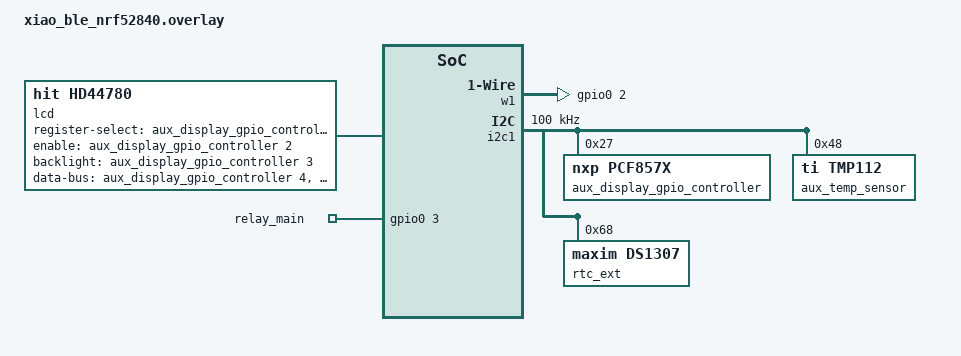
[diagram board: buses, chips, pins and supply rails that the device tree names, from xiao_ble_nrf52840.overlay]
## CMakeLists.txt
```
cmake_minimum_required(VERSION 3.20.0)
find_package(Zephyr REQUIRED HINTS $ENV{ZEPHYR_BASE})

project(nrf)

target_sources(app PRIVATE
    src/main.c
    src/temp_sensor.c
    src/display.c
    src/relay.c
    src/ds18b20.c
    src/sys.c
    src/clock.c
)
```

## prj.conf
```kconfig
CONFIG_PRINTK=y
CONFIG_GPIO=y
CONFIG_I2C=y
CONFIG_STDOUT_CONSOLE=y

# Enable support for the HD44780 LCD display
CONFIG_AUXDISPLAY=y
CONFIG_AUXDISPLAY_HD44780=y
CONFIG_GPIO_PCF857X=y

# Enable 1-Wire support for DS18B20 temperature sensor
CONFIG_W1=y

# Ambient temperature sensor support
CONFIG_TMP112=y
CONFIG_SENSOR=y

# Real Time Clock
CONFIG_RTC=y
CONFIG_RTC_DS1307=y

# for debugging
CONFIG_LOG=y
CONFIG_LOG_DEFAULT_LEVEL=3
CONFIG_LOG_MODE_DEFERRED=y
CONFIG_LOG_BACKEND_UART=y
CONFIG_UART_CONSOLE=y
```

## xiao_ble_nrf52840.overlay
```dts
/*
            xiao_ble
         +-----------+
     W1 -|0        5V|- N/C
  RELAY -|1       GND|- GND
        -|2      3.3V|- 3.3V
        -|3        10|-
    SDA -|4         9|-
    SCL -|5         8|- 
     TX -|6         7|- RX
         +-----------+
*/

/ {

    // 16x2 lcd display
    lcd: hd44780 {
        compatible = "hit,hd44780";
        status = "okay";

        mode = <4>;
        columns = <16>;
        rows = <2>;

        register-select-gpios = <&aux_display_gpio_controller 0 (GPIO_ACTIVE_HIGH)>;
        //read-write-gpios = <&aux_display_gpio_controller 1 (GPIO_ACTIVE_HIGH)>;
        enable-gpios = <&aux_display_gpio_controller 2 (GPIO_ACTIVE_HIGH)>;
        backlight-gpios = <&aux_display_gpio_controller 3 (GPIO_ACTIVE_HIGH)>;
        data-bus-gpios =
            <0>, <0>, <0>, <0>,
            <&aux_display_gpio_controller 4 (GPIO_ACTIVE_HIGH)>,
            <&aux_display_gpio_controller 5 (GPIO_ACTIVE_HIGH)>,
            <&aux_display_gpio_controller 6 (GPIO_ACTIVE_HIGH)>,
            <&aux_display_gpio_controller 7 (GPIO_ACTIVE_HIGH)>;
    };

    // 1-wire bus for DS18B20 temperature sensor
    w1: w1 {
        compatible = "zephyr,w1-gpio";
        status = "okay";

        // use external pull-up resistor
        gpios = <&gpio0 2 (GPIO_ACTIVE_HIGH | GPIO_OPEN_DRAIN)>;
    };
    
    outputs {
        compatible = "gpio-leds"; // this is not an LED, needs to be fixed
        relay_main: relay_main {
            gpios = <&gpio0 3 GPIO_ACTIVE_HIGH>;
            status = "okay";

        };
    };
};

// I2C bus
&i2c1 {
    status = "okay";
    clock-frequency = <I2C_BITRATE_STANDARD>;

    // PCF8574 I/O expander for the LCD
    aux_display_gpio_controller: pcf8574@27 {
        compatible = "nxp,pcf857x";
        reg = <0x27>;
        gpio-controller;
        ngpios = <8>;
        #gpio-cells = <2>;
    };

    // TMP102 temperature sensor
    aux_temp_sensor: tmp102@48 {
        compatible = "ti,tmp112";
        status = "okay";
        reg = <0x48>;
        conversion-rate = <250>; // 250mHz conversion rate
    };

    rtc_ext: ds1307@68 {
        compatible = "maxim,ds1307";
        status = "okay";
        reg = <0x68>;
    };

};

&spi2 {
    status = "disabled";
};
```

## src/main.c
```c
#include <zephyr/kernel.h>
#include <zephyr/drivers/sensor.h>
#include <string.h>
#include "display.h"
#include "temp_sensor.h"
#include "sys.h"

/* entrypoint and system configuration for the application */

#define TEMP_SENSOR_THREAD_PERIOD_MS    5000
#define DISPLAY_THREAD_PERIOD_MS        200
#define SYS_THREAD_PERIOD_MS            200

static struct k_sem temp_sensor_tick_sem;
static struct k_sem display_tick_sem;
static struct k_sem sys_tick_sem;

static void temp_sensor_timer_handler(struct k_timer *dummy);
static void temp_sensor_thread(void *a, void *b, void *c);

static void display_timer_handler(struct k_timer *dummy);
static void display_thread(void *a, void *b, void *c);

static void sys_timer_handler(struct k_timer *dummy);
static void sys_thread(void *a, void *b, void *c);

static void temp_sensor_timer_handler(struct k_timer *dummy){
    (void)dummy;
    k_sem_give(&temp_sensor_tick_sem);
}
K_TIMER_DEFINE(temp_sensor_timer, temp_sensor_timer_handler, NULL);

static void display_timer_handler(struct k_timer *dummy){
    (void)dummy;
    k_sem_give(&display_tick_sem);
}
K_TIMER_DEFINE(display_timer, display_timer_handler, NULL);

static void sys_timer_handler(struct k_timer *dummy){
    (void)dummy;
    k_sem_give(&sys_tick_sem);
}
K_TIMER_DEFINE(sys_timer, sys_timer_handler, NULL);

static void temp_sensor_thread(void *a, void *b, void *c){

    k_sem_init(&temp_sensor_tick_sem, 0, 1);

    temp_sensor_init();

    k_timer_start(&temp_sensor_timer, K_NO_WAIT, K_MSEC(TEMP_SENSOR_THREAD_PERIOD_MS));

    for (;;) {
        k_sem_take(&temp_sensor_tick_sem, K_FOREVER);

        temp_sensor_main();
    }
}

static void display_thread(void *a, void *b, void *c){

    k_sem_init(&display_tick_sem, 0, 1);

    display_init();

    k_timer_start(&display_timer, K_NO_WAIT, K_MSEC(DISPLAY_THREAD_PERIOD_MS));

    for (;;) {
        k_sem_take(&display_tick_sem, K_FOREVER);
        display_main();
    }

}

static void sys_thread(void *a, void *b, void *c){

    k_sem_init(&sys_tick_sem, 0, 1);

    sys_init(SYS_THREAD_PERIOD_MS);

    k_timer_start(&sys_timer, K_NO_WAIT, K_MSEC(SYS_THREAD_PERIOD_MS));

    for (;;) {
        k_sem_take(&sys_tick_sem, K_FOREVER);
        sys_main();
    }

}

int main(void){

}

K_THREAD_DEFINE(temp_sensor_thread_id, 1024, temp_sensor_thread,
                NULL, NULL, NULL, 3, 0, 0);

K_THREAD_DEFINE(display_thread_id, 1024, display_thread,
                NULL, NULL, NULL, 4, 0, 0);

K_THREAD_DEFINE(sys_thread_id, 1024, sys_thread,
                NULL, NULL, NULL, 4, 0, 0);
```

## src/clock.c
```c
#include <zephyr/device.h>
#include "clock.h"

typedef struct clock_context {
    bool is_ready;
}clock_context_t;

const struct device *const rtc_dev = DEVICE_DT_GET(DT_NODELABEL(rtc_ext));

static clock_context_t clock_context;

void clock_init(){

    int result = 0;

    clock_context = (clock_context_t){
        .is_ready = false
    };

    result = device_is_ready(rtc_dev);
    if (0 > result) {
        return;
    }

    clock_context.is_ready = true;

}

int clock_get_time(struct rtc_time *time_ptr)
{
    int result = 0;

    result = rtc_get_time(rtc_dev, time_ptr);
    if (result < 0) {
        printk("Cannot read date time: %d\n", result);
        return result;
    }

    printk("RTC date and time: %04d-%02d-%02d %02d:%02d:%02d\n", time_ptr->tm_year + 1900,
           time_ptr->tm_mon + 1, time_ptr->tm_mday, time_ptr->tm_hour,
           time_ptr->tm_min, time_ptr->tm_sec);

    return result;
}

bool clock_is_ready(void){
    return clock_context.is_ready;
}
```

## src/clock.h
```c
#ifndef __CLOCK_H__
#define __CLOCK_H__

#include <zephyr/drivers/rtc.h>

void clock_init(void);
bool clock_is_ready(void);
int clock_get_time(struct rtc_time *time_ptr);

#endif /* __CLOCK_H__ */
```

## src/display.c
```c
#include <zephyr/drivers/auxdisplay.h>
#include <string.h>
#include "display.h"

/*
sensor value aux:           5 characters    -> 123.45 | -12.34 | ERROR
sensor value main:          5 characters    -> 123.45 | -12.34 | ERROR
target temp:                5 characters    -> 123.45 | -12.34 | ERROR
connection status:          1 character     -> (write wifi icon to display SRAM)
progress in hours:          9 characters    -> 1234/5678
number of notifications:    3 characters    -> 12 (bell icon)
*/



/* display update period in multiples of 10ms */
#define LCD_REFRESH_PERIOD 5

typedef enum display_state {
    DISP_STATE_INIT,          /* initial display configuration */
    DISP_STATE_ON,            /* display ready to display data */
    DISP_STATE_OFF,           /* waiting for event to wake up */
    DISP_STATE_ERROR,         /* display encountered errors, trying to recover */
    DISP_STATE_COUNT
}display_state_t;

typedef void (*display_state_handle_t)(void);

typedef struct display_context {
    display_state_t current_state;
    display_buffer_t screen_data;        /* whats requested on the display*/
    display_buffer_t screen_data_shadow; /* whats on the display */
    uint8_t display_brightness;
    display_control_t requested_status;
    bool is_ready;
}display_context_t;

typedef struct display_state_table {
    display_state_t name;
    display_state_handle_t handle;
}display_state_table_t;

/* declaration of a handle for each state */
static void display_state_init(void);
static void display_state_on(void);
static void display_state_off(void);
static void display_state_error(void);

static void display_set_state(display_state_t new_state);

static void display_update_screen(void);

static const struct device *lcd_dev = DEVICE_DT_GET(_LCD_NODE);
static display_context_t display_context;

static display_state_table_t display_state_handles[] = {
    {DISP_STATE_INIT,         display_state_init          },
    {DISP_STATE_ON,           display_state_on            },
    {DISP_STATE_OFF,          display_state_off           },
    {DISP_STATE_ERROR,        display_state_error         }
};

void display_init(){
    display_context = (display_context_t){
        .current_state = DISP_STATE_INIT,
        .display_brightness = 0x00U,
        .is_ready = false
    };

    // clear buffers
    memset(display_context.screen_data.data, 0U, sizeof(display_buffer_t));
    memset(display_context.screen_data_shadow.data, 0U, sizeof(display_buffer_t));
}

void display_main(){
    int i = 0;
    for (i = 0; i < DISP_STATE_COUNT; i++){
        if (display_context.current_state == display_state_handles[i].name){
            display_state_handles[i].handle();
        }
    }
}

void display_control(display_control_t onoff){
    switch (onoff) {
    case DISP_ON:
        display_context.requested_status = DISP_ON;
        break;
    case DISP_OFF:
        display_context.requested_status = DISP_OFF;
        break;
    default:
        printk("Invalid disp on/off request: %d", onoff);
        break;
    }
}

void display_set_text(const display_buffer_t *text){
    // copy the text to buffer
    memcpy((void*)display_context.screen_data.data, text, sizeof(display_buffer_t));
}

void display_set_brightness(uint8_t brightness){
    display_context.display_brightness = brightness;
}

bool display_is_ready(void){
    return display_context.is_ready;
}

static void display_state_init(void){

    int result = 0;

    if (false == device_is_ready(lcd_dev)) {
        printk("Auxdisplay device is not ready.");
        return;
    }

    // enable communication
    result = auxdisplay_cursor_set_enabled(lcd_dev, false);
    if (0 != result) {
        printk("Failed to disable cursor: %d", result);
        return;
    }

    display_context.is_ready = true;
    display_set_state(DISP_STATE_OFF);
}

static void display_state_on(void){

    int result = 0;
    uint8_t current_backlight = 0x00U;

    if (DISP_OFF == display_context.requested_status){

        result = auxdisplay_display_off(lcd_dev);
        if (result != 0) {
            printk("Failed to turn display off: %d", result);
            return;
        }

        // clear shadow buffer
        memset(display_context.screen_data_shadow.data, 0U, sizeof(display_buffer_t));
        display_set_state(DISP_STATE_OFF);

        return;
    }

    // update screen data
    display_update_screen();

    // update brightness if needed
    result = auxdisplay_backlight_get(lcd_dev, &current_backlight);
    if (display_context.display_brightness != current_backlight || 0 > result) {
        // not checking result, if it fails, it will be triggered again
        result = auxdisplay_backlight_set(lcd_dev, display_context.display_brightness);

    }

}

static void display_state_off(void){

    int result = 0;
    uint8_t current_backlight = 0xFFU;

    // was there a display ON request
    if (DISP_ON == display_context.requested_status){
        result = auxdisplay_display_on(lcd_dev);
        if (result != 0) {
            printk("Failed to turn display on: %d", result);
            return;
        }
        display_set_state(DISP_STATE_ON);
        return;
    }

    // make sure the backlight is off
    result = auxdisplay_backlight_get(lcd_dev, &current_backlight);
    if (0x00U != current_backlight || 0 > result) {
        // not checking result, if it fails, it will be triggered again
        (void)auxdisplay_backlight_set(lcd_dev, 0x00U);
    }
}

static void display_state_error(void){

}

static void display_set_state(display_state_t new_state){
    if (DISP_STATE_COUNT > new_state){
        display_context.current_state = new_state;
    }
}

static void display_update_screen(){

    int i = 0;
    int result = 0;

    display_buffer_t *requested_buff = &display_context.screen_data;
    display_buffer_t *shadow_buff = &display_context.screen_data_shadow;

    for (i = 0; i < sizeof(display_buffer_t); i++){
        if (shadow_buff->data[i] != requested_buff->data[i]){

            // set cursor
            result = auxdisplay_cursor_position_set(lcd_dev,
                        AUXDISPLAY_POSITION_ABSOLUTE,
                        i % LCD_COLUMNS,
                        i / LCD_COLUMNS
                    );
            if (0 > result){
                continue;
            }

            // write the character
            result = auxdisplay_write(lcd_dev, &requested_buff->data[i], 1);
            if (0 > result){
                continue;
            }

            // update shadow register
            shadow_buff->data[i] = requested_buff->data[i];
        }
    }
}
```

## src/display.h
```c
#ifndef __DISPLAY_H__
#define __DISPLAY_H__

#include <zephyr/device.h>

#define _LCD_NODE        DT_NODELABEL(lcd)
#define LCD_COLUMNS     DT_PROP(_LCD_NODE, columns)
#define LCD_ROWS        DT_PROP(_LCD_NODE, rows)

#define DISPLAY_DEGREES_S "\xDF"

typedef enum display_control{
    DISP_ON,
    DISP_OFF
}display_control_t;

typedef struct display_buffer{
    uint8_t data[LCD_COLUMNS * LCD_ROWS];
}display_buffer_t;

void display_init(void);
void display_main(void);

void display_control(display_control_t onoff);

void display_set_text(const display_buffer_t *text);
void display_set_brightness(uint8_t brightness);

bool display_is_ready(void);

#endif /* __DISPLAY_H__ */
```

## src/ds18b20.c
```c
#include <zephyr/drivers/w1.h>
#include <zephyr/device.h>
#include <zephyr/kernel.h>
#include <errno.h>
#include "ds18b20.h"

#define DS18B20_FAMILY_CODE 0x28U

typedef enum ds18b20_message_id {
    DS18B20_CONVERT_T,
    DS18B20_READ_SCRATCHPAD,
    DS18B20_WRITE_SCRATCHPAD,
    DS18B20_COPY_SCRATCHPAD,
    DS18B20_RECALL_E_2,
    DS18B20_READ_POWER_SUPPLY,
    DS18B20_MESSAGE_COUNT
}ds18b20_message_id_t;

typedef struct ds18b20_context {
    bool is_discovered;
    bool was_T_issued;          /* start conversion command */
    uint8_t tx_buffer[10];
    uint8_t rx_buffer[10];
    int64_t trigger_time;       /* time of last convert T trigger */
    ds18b20_conversion_time_t conversion_time;

}ds18b20_context_t;

typedef struct ds18b20_command {
    uint8_t protocol;           /* command id */
    uint8_t tx_payload_len;     /* additional data length (without command id)*/
    uint8_t rx_len;             /* response length */
}ds18b20_command_t;

static void w1_search_callback(struct w1_rom rom, void *user_data);

static void ds18b20_prepare_buffers(ds18b20_message_id_t message_id, uint8_t *payload,
    uint8_t *tx_len, uint8_t *rx_len);
static int ds18b20_send_command(const struct device *w1_bus_dev, uint8_t *tx_len, uint8_t *rx_len);
static int16_t ds18b20_get_raw_temp(void);
static void ds18b20_temp_to_sensor_value(int16_t temperature, struct sensor_value *result);
static int ds18b20_get_curr_ticks_to_convert(void);

/* 
 * Has to be in the same order as ds18b20_message_id_t, which is used to access
 * this without any for loops!
 */
static const ds18b20_command_t ds18b20_messages[] = {
    {   /* Convert T */
        .protocol = 0x44U,
        .tx_payload_len = 0U,
        .rx_len = 1U
    },
    {   /* Read Scratchpad */
        .protocol = 0xBEU,
        .tx_payload_len = 0U,
        .rx_len = 9U
    },
    {   /* Write Scratchpad */
        .protocol = 0x4EU,
        .tx_payload_len = 3U,
        .rx_len = 0U
    },
    {   /* Copy Scratchpad */
        .protocol = 0x48U,
        .tx_payload_len = 0U,
        .rx_len = 0U
    },
    {   /* Recall E 2 */
        .protocol = 0xB8U,
        .tx_payload_len = 0U,
        .rx_len = 3U
    },
    {   /* Read Power Supply */
        .protocol = 0xB4U,
        .tx_payload_len = 0U,
        .rx_len = 1U
    }
};

/* DS18B20 config for zephyr,w1-gpio driver */
struct w1_slave_config ds18b20_w1_config = 
{
    .rom = W1_ROM_INIT_ZERO,
    .overdrive = 0U
};

static ds18b20_context_t ds18b20_context = {
    .is_discovered = false,
    .was_T_issued = false,
    .trigger_time = 0
};

int ds18b20_init(const struct device *w1_bus_dev){
    int result = 0U;
    uint8_t crc = 0x00U;
    uint8_t tx_length = 0;
    uint8_t rx_length = 0;

    if (false == device_is_ready(w1_bus_dev)) {
        return -ENOENT;
    }

    /* search for temperature sensor if we haven't found one already */
    if (false == ds18b20_context.is_discovered) {
        result = w1_search_rom(w1_bus_dev, w1_search_callback, NULL);
        if (result == 0){
            /* no devices found on w1 bus */
            return -EIO;
        }
        else if (result < 0){
            /* pass the error down */
            return result;
        }

        /* calculate CRC of ROM */
        crc = w1_crc8(&ds18b20_w1_config.rom, sizeof(struct w1_rom) - sizeof(uint8_t));
        if (crc == ds18b20_w1_config.rom.crc){
            /* device discovered and CRC verified */
            ds18b20_context.is_discovered = true;
        }
        else {
            printk("ds18b20 discovered, but returned ROM has bad CRC\n");
        }
    }

    if (true == ds18b20_context.is_discovered) {
        /* try to match rom with the discovered device */
        result = w1_match_rom(w1_bus_dev, &ds18b20_w1_config);
        if (result < 0) {
            /* error */
            return result;
        }

        ds18b20_prepare_buffers(DS18B20_READ_SCRATCHPAD, NULL, 
            &tx_length, &rx_length);

        result = w1_write_read(w1_bus_dev, &ds18b20_w1_config,
            ds18b20_context.tx_buffer, tx_length,
            ds18b20_context.rx_buffer, rx_length
        );

        if (result >= 0) {
            printk("write response:");
            for (int i = 0; i < rx_length; i++) {
                printk(" 0x%x", ds18b20_context.rx_buffer[i]);
            }
            printk("\n");
        }
        else {
            printk("reading scratchpad failed");
            return result;
        }
        
    }

    return 0;
}

int ds18b20_set_config(const struct device *w1_bus_dev, uint8_t TH, uint8_t TL,
    ds18b20_conversion_time_t resolution){

    int result = 0U;
    uint8_t payload[3] = {0};
    uint8_t tx_len = 0U;
    uint8_t rx_len = 0U;

    /* fill the payload */
    payload[0U] = TH;
    payload[1U] = TL;
    payload[2U] = ((resolution << 5U) | 0x1FU) & 0x7FU;

    ds18b20_prepare_buffers(DS18B20_WRITE_SCRATCHPAD, payload, &tx_len, &rx_len);

    result = ds18b20_send_command(w1_bus_dev, &tx_len, &rx_len);

    if (0U <= result) {
        ds18b20_context.conversion_time = resolution;
    }

    return result;

}

int ds18b20_trigger_conversion(const struct device *w1_bus_dev){
    int result = 0U;
    uint8_t tx_len = 0U;
    uint8_t rx_len = 0U;

    ds18b20_prepare_buffers(DS18B20_CONVERT_T, NULL, &tx_len, &rx_len);

    result = ds18b20_send_command(w1_bus_dev, &tx_len, &rx_len);

    if (0U <= result) {
        /* trigger successful */
        ds18b20_context.trigger_time = k_uptime_ticks();
        ds18b20_context.was_T_issued = true;
    }

    return result;

}

int ds18b20_get_temperature(const struct device *w1_bus_dev, struct sensor_value *new_value){

    int result = 0U;
    uint8_t tx_len = 0U;
    uint8_t rx_len = 0U;
    int16_t raw_temperature = 0x0000U;
    uint8_t crc = 0U;

    /* check if conversion was triggered */
    if (false == ds18b20_context.was_T_issued) {
        return -ENOEXEC;
    }

    /* did conversion time elapse? */
    if (ds18b20_context.trigger_time + ds18b20_get_curr_ticks_to_convert() > k_uptime_ticks()) {
        return -EBUSY;
    }

    ds18b20_prepare_buffers(DS18B20_READ_SCRATCHPAD, NULL, &tx_len, &rx_len);

    result = ds18b20_send_command(w1_bus_dev, &tx_len, &rx_len);

    if (0U > result) {
        return result;
    }

    /* check crc */
    crc = w1_crc8(&ds18b20_context.rx_buffer, rx_len - sizeof(uint8_t));
    if (crc != ds18b20_context.rx_buffer[rx_len - 1]){
        /* bad CRC */
        printk("bad crc when reading temperature\n");
        return -EBADMSG;
    }

    /* reset conversion triggered flag */
    ds18b20_context.was_T_issued = false;

    raw_temperature = ds18b20_get_raw_temp();
    ds18b20_temp_to_sensor_value(raw_temperature, new_value);

    return 0;
}

static int ds18b20_send_command(const struct device *w1_bus_dev, uint8_t *tx_len, uint8_t *rx_len){
    int result = 0U;

    result = w1_skip_rom(w1_bus_dev, &ds18b20_w1_config);

    if (-ENODEV == result) {
        /* try to match ROM before declaring failure */
        result = w1_match_rom(w1_bus_dev, &ds18b20_w1_config);
        if (0U > result) {
            goto exit;
        }
    }
    else if (0U > result) {
        goto exit;
    }

    result = w1_write_block(w1_bus_dev, ds18b20_context.tx_buffer, *tx_len);
    if (0U > result || 0U == *rx_len) {
        goto exit;
    }

    result = w1_read_block(w1_bus_dev, ds18b20_context.rx_buffer, *rx_len);

exit:
    return result;
}

static void w1_search_callback(struct w1_rom rom, void *user_data)
{
    if (DS18B20_FAMILY_CODE == rom.family) {
        /* Discovered device matches DS18B20 family code */
        memcpy((void*)&ds18b20_w1_config.rom, (void*)&rom, sizeof(struct w1_rom));

        /* set that the right sensor has been discovered */
        ds18b20_context.is_discovered = true;

        printk("DS18B20 registered with id: 0x%016llx\n", w1_rom_to_uint64(&rom));
    }

}

static void ds18b20_prepare_buffers(ds18b20_message_id_t message_id, uint8_t *payload,
    uint8_t *tx_len, uint8_t *rx_len){

    uint8_t *tx_buffer = ds18b20_context.tx_buffer;
    
    if (DS18B20_MESSAGE_COUNT <= message_id) {
        return;
    }
    
    *tx_len = ds18b20_messages[message_id].tx_payload_len;
    *rx_len = ds18b20_messages[message_id].rx_len;

    /* set command */
    tx_buffer[0U] = ds18b20_messages[message_id].protocol;

    /* set payload */
    if (NULL != payload && 0U < *tx_len) {
        memcpy((void*)&tx_buffer[1U], (void*)payload, *tx_len);
    }

    /* add protocol byte to total tx length */
    *tx_len += 1U;
}

static void ds18b20_temp_to_sensor_value(int16_t temperature, struct sensor_value *result){
    result->val1 = (temperature / 16);
    result->val2 = (((temperature % 16) * 1000000) >> 4U);
}

static int ds18b20_get_curr_ticks_to_convert(void){

    int conversion_time_us = 0;
    int conversion_ticks = 0;

    switch (ds18b20_context.conversion_time)
    {
    case DS18B20_RESOLUTION_9_BITS:
        /* 93.75ms */
        conversion_time_us = 93750;
        break;
    case DS18B20_RESOLUTION_10_BITS:
        /* 187.5ms */
        conversion_time_us = 187500;
        break;
    case DS18B20_RESOLUTION_11_BITS:
        /* 375ms */
        conversion_time_us = 375000;
        break;
    case DS18B20_RESOLUTION_12_BITS:
        /* 750ms */
        conversion_time_us = 750000;
        break;
    default:
        conversion_time_us = 0;
        break;
    }

    conversion_ticks = k_us_to_ticks_ceil32(conversion_time_us);

    return conversion_ticks;
}

static int16_t ds18b20_get_raw_temp(void){
    int16_t raw_temp = 0;
    uint8_t *scratch_pad = ds18b20_context.rx_buffer;

    raw_temp = scratch_pad[0U] | (scratch_pad[1U] << 8U);

    return raw_temp;
}
```

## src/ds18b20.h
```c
#ifndef __DS18B20_H__
#define __DS18B20_H__

#include <zephyr/drivers/sensor.h>

/* type for DS18B20 Configuration Register */
typedef enum ds18b20_conversion_time {      /* conversion time */
    DS18B20_RESOLUTION_9_BITS,              /* 93.75ms         */
    DS18B20_RESOLUTION_10_BITS,             /* 187.5ms         */
    DS18B20_RESOLUTION_11_BITS,             /* 375ms           */
    DS18B20_RESOLUTION_12_BITS              /* 750ms           */
}ds18b20_conversion_time_t;

int ds18b20_init(const struct device *w1_bus_dev);
int ds18b20_set_config(const struct device *w1_bus_dev, uint8_t TH, uint8_t TL,
    ds18b20_conversion_time_t resolution);

int ds18b20_trigger_conversion(const struct device *w1_bus_dev);
int ds18b20_get_temperature(const struct device *w1_bus_dev, struct sensor_value *new_value);

#endif /* __DS18B20_H__ */
```

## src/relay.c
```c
#include <zephyr/devicetree.h>
#include <zephyr/drivers/gpio.h>
#include "relay.h"

#define GPIO_ON     1U
#define GPIO_OFF    0U

#define RELAY_NODE DT_NODELABEL(relay_main)

typedef struct relay_context {
    bool is_ready;
}relay_context_t;

static const struct gpio_dt_spec relay_gpio = GPIO_DT_SPEC_GET(RELAY_NODE, gpios);
static relay_context_t relay_context = {
    .is_ready = false
};

int relay_init(){

    int result = 0U;

    if (false == gpio_is_ready_dt(&relay_gpio)) {
        return result;
    }

    // should be off at startup
    result = gpio_pin_configure_dt(&relay_gpio, GPIO_OUTPUT_INACTIVE);
    if (0 != result) {
        return result;
    }

    relay_context.is_ready = true;

    return 0U;
}

void relay_set(relay_state_t state){
    if (true == relay_context.is_ready) {
        switch (state) {
        case RELAY_ON:
            (void)gpio_pin_set_dt(&relay_gpio, GPIO_ON);
            break;
        case RELAY_OFF:
            (void)gpio_pin_set_dt(&relay_gpio, GPIO_OFF);
            break;
        case RELAY_ERR:
        default:
            /* do nothing */
            break;
        }
    }
}

relay_state_t relay_get(){
    int status = gpio_pin_get_dt(&relay_gpio);
    relay_state_t ret = RELAY_ERR;
    switch (status) {
    case GPIO_ON:
        ret = RELAY_ON;
        break;
    case GPIO_OFF:
        ret = RELAY_OFF;
        break;
    };
    return ret;
}

bool relay_is_ready(void){
    return relay_context.is_ready;
}

relay_hysteresis_t relay_define_hysteresis(struct sensor_value A, struct sensor_value B){
    return (relay_hysteresis_t) {
        .A = A,
        .B = B
    };
}

relay_state_t relay_get_hysteresis_output(relay_hysteresis_t *hysteresis, struct sensor_value *input,
    relay_state_t curr_state){

    relay_state_t output = RELAY_OFF;

    if (RELAY_ON == curr_state) {
        if (sensor_value_to_milli(input) <= sensor_value_to_milli(&hysteresis->A)){
            output = RELAY_OFF;
        }
        else {
            output = RELAY_ON;
        }
    }
    else if (RELAY_OFF == curr_state) {
        if (sensor_value_to_milli(input) >= sensor_value_to_milli(&hysteresis->B)){
            output = RELAY_ON;
        }
        else {
            output = RELAY_OFF;
        }
    }

    return output;
}
```

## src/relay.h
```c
#ifndef __RELAY_H__
#define __RELAY_H__

#include <zephyr/drivers/sensor.h>

typedef enum relay_state {
    RELAY_ON,
    RELAY_OFF,
    RELAY_ERR
}relay_state_t;

/*
 *          ------------------ ON
 *          |           |
 *          |           |
 *          A           B
 *          |           |
 *          |           |
 * OFF ------------------
 */
typedef struct relay_hysteresis {
    struct sensor_value A;
    struct sensor_value B;
}relay_hysteresis_t;

int relay_init(void);
void relay_set(relay_state_t state);
relay_state_t relay_get(void);

relay_hysteresis_t relay_define_hysteresis(struct sensor_value A, struct sensor_value B);
relay_state_t relay_get_hysteresis_output(relay_hysteresis_t *hysteresis,
    struct sensor_value *input, relay_state_t curr_state);

bool relay_is_ready(void);

#endif /* __RELAY_H__ */
```

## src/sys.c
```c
#include <zephyr/kernel.h>
#include "sys.h"
#include "display.h"
#include "relay.h"
#include "temp_sensor.h"
#include "clock.h"

#define SYS_RELAY_HYSTERESIS_A (struct sensor_value){-1, 0}
#define SYS_RELAY_HYSTERESIS_B (struct sensor_value){1, 0}

#define SYS_DISPLAY_DEGREES_UNIT_S "[" DISPLAY_DEGREES_S "C]"

#define SYS_DISPLAY_TASK_PERIOD_MS          1000
#define SYS_TEMP_CONTROL_TASK_PERIOD_MS     2000
#define SYS_DISPLAY_UPDATE_PERIOD_MS        5000

typedef bool (*module_init_function_t)(void);
typedef void (*sys_state_handle_t)(void);
typedef void (*sys_task_handle_t)(void);

typedef enum sys_state {
    SYS_STATE_INIT,
    SYS_STATE_RUNNING,
    SYS_STATE_ERROR,
    SYS_STATE_COUNT
}sys_state_t;

typedef enum sys_display_values {
    SYS_DISPLAY_MAIN_TEMP,
    SYS_DISPLAY_AMBIENT_TEMP,
    SYS_DISPLAY_SET_TEMP,
    SYS_DISPLAY_COUNT
}sys_display_values_t;

typedef struct sys_context {
    sys_state_t current_state;
    uint32_t call_period_ms;

    struct sensor_value planned_temperature;
    struct sensor_value temperature_error;
    relay_hysteresis_t output_hysteresis;
    sys_display_values_t currently_displayed;

    int32_t display_update_countdown_ms;

}sys_context_t;

typedef struct sys_init_entry {
    char module_name[16];
    module_init_function_t is_ready_check;  /* function to get module status */
    bool is_required;                       /* is the module required for basic functionality? */
}sys_init_entry_t;

typedef struct sys_state_table {
    sys_state_t name;
    sys_state_handle_t handle;
}sys_state_table_t;

typedef struct sys_task_entry {
    sys_task_handle_t task_handle;
    uint32_t period;                        /* period in ms */
    int32_t period_countdown;               /* current countdown in ms */
}sys_task_entry_t;

static void sys_state_init(void);
static void sys_state_running(void);
static void sys_state_error(void);
static void sys_set_state(sys_state_t new_state);

static void sys_display_control_task(void);
static void sys_temp_control_task(void);

static void sys_sensor_value_to_str(struct sensor_value *val, char *buff, int decimals);

static sys_context_t sys_context = {
    .current_state = SYS_STATE_INIT,
    .planned_temperature = {24, 00},
    .temperature_error = {0U, 0U},
    .currently_displayed = SYS_DISPLAY_MAIN_TEMP,
    .display_update_countdown_ms = 0
};

const sys_init_entry_t sys_init_checklist[] = {
    {
        .module_name = "relay",
        .is_ready_check = relay_is_ready,
        .is_required = true
    },
    {
        .module_name = "main sensor",
        .is_ready_check = temp_sensor_main_is_ready,
        .is_required = true
    },
    {
        .module_name = "ambient sensor",
        .is_ready_check = temp_sensor_aux_is_ready,
        .is_required = false
    },
    {
        .module_name = "display",
        .is_ready_check = display_is_ready,
        .is_required = false
    }
};

static sys_task_entry_t sys_task_list[] = {
    {
        .task_handle = sys_display_control_task,
        .period = SYS_DISPLAY_TASK_PERIOD_MS,
        .period_countdown = 0
    },
    {
        .task_handle = sys_temp_control_task,
        .period = SYS_TEMP_CONTROL_TASK_PERIOD_MS,
        .period_countdown = 0
    }
};

static sys_state_table_t sys_state_handles[] = {
    {SYS_STATE_INIT,         sys_state_init        },
    {SYS_STATE_RUNNING,      sys_state_running     },
    {SYS_STATE_ERROR,        sys_state_error       }
};



void sys_init(uint32_t sys_call_period_ms){

    sys_context.output_hysteresis = relay_define_hysteresis(SYS_RELAY_HYSTERESIS_A,
                                        SYS_RELAY_HYSTERESIS_B);

    sys_context.call_period_ms = sys_call_period_ms;

}

void sys_main(void){
    int i = 0;
    for (i = 0; i < SYS_STATE_COUNT; i++){
        if (sys_context.current_state == sys_state_handles[i].name){
            sys_state_handles[i].handle();
        }
    }
}

static void sys_state_init(void){

    int i = 0;
    bool are_modules_ready = true;
    bool is_module_ready = false;

    (void)relay_init();
    clock_init();

    /* check if all required modules are ready */
    for (i = 0; i < sizeof(sys_init_checklist)/sizeof(sys_init_entry_t); i++) {
        is_module_ready = sys_init_checklist[i].is_ready_check();
        if (false == is_module_ready && true == sys_init_checklist[i].is_required) {
            are_modules_ready = false;
        }
    }

    if (false == are_modules_ready) {
        /* not all modules are ready, wait */
        return;
    }

    /* reset display update timer */
    sys_context.display_update_countdown_ms = SYS_DISPLAY_UPDATE_PERIOD_MS;
    sys_set_state(SYS_STATE_RUNNING);

}

static void sys_state_running(void){
    int i = 0;
    for (i = 0; i < sizeof(sys_task_list)/sizeof(sys_task_entry_t); i++) {
        if (0U >= sys_task_list[i].period_countdown) {
            /* call task function */
            sys_task_list[i].task_handle();

            /* reset countdown to period */
            sys_task_list[i].period_countdown = sys_task_list[i].period;
        }
        else {
            /* tick down */
            sys_task_list[i].period_countdown -= sys_context.call_period_ms;
        }
    }
}

static void sys_state_error(void){

}

static void sys_display_control_task(void){

    struct sensor_value temperature = {0U,0U};
    display_buffer_t screen_text = {
        .data = {' '}
    };

    switch (sys_context.currently_displayed) {
        case SYS_DISPLAY_MAIN_TEMP:
            /* fetch main temperature */
            (void)temp_sensor_get_temperature(MAIN_TEMPERATURE_SENSOR, &temperature);
            snprintk(screen_text.data, sizeof(display_buffer_t),
            "main t" SYS_DISPLAY_DEGREES_UNIT_S ":");

            sys_sensor_value_to_str(&temperature, screen_text.data + LCD_COLUMNS, 2U);
            break;

        case SYS_DISPLAY_AMBIENT_TEMP:
            /* fetch ambient temperature from auxilary sensor */
            (void)temp_sensor_get_temperature(AUX_TEMPERATURE_SENSOR, &temperature);
            snprintk(screen_text.data, sizeof(display_buffer_t),
            "ambient t" SYS_DISPLAY_DEGREES_UNIT_S ":");

            sys_sensor_value_to_str(&temperature, screen_text.data + LCD_COLUMNS, 2U);
            break;

        case SYS_DISPLAY_SET_TEMP:
            snprintk(screen_text.data, sizeof(display_buffer_t),
            "target t" SYS_DISPLAY_DEGREES_UNIT_S ":");

            sys_sensor_value_to_str(&sys_context.planned_temperature,
                screen_text.data + LCD_COLUMNS, 2U);
            break;

        default:
            break;
    }

    display_set_brightness(0xFFU);
    display_set_text(&screen_text);

    /* tick down displayed value counter */
    sys_context.display_update_countdown_ms -= SYS_DISPLAY_TASK_PERIOD_MS;
    if (0 >= sys_context.display_update_countdown_ms) {
        sys_context.currently_displayed = (sys_context.currently_displayed + 1) % SYS_DISPLAY_COUNT;
        sys_context.display_update_countdown_ms = SYS_DISPLAY_UPDATE_PERIOD_MS;
    }
    printk("display_timer: %d\n", sys_context.display_update_countdown_ms);

}

static void sys_temp_control_task(void){
    bool temperature_validity = false;
    struct sensor_value current_temperature = {0};
    int64_t temperature_error_mili = 0; /* in mili degrees Celsius */
    relay_state_t current_relay_state = relay_get();
    relay_state_t new_relay_state = RELAY_OFF;

    temperature_validity = temp_sensor_get_temperature(MAIN_TEMPERATURE_SENSOR,
                                &current_temperature);

    if (false == temperature_validity) {
        return;
    }

    /* error = input - measurement */
    temperature_error_mili = sensor_value_to_milli(&sys_context.planned_temperature) -
                             sensor_value_to_milli(&current_temperature);

    sensor_value_from_micro(&sys_context.temperature_error, temperature_error_mili);

    new_relay_state = relay_get_hysteresis_output(&sys_context.output_hysteresis,
        &sys_context.temperature_error, current_relay_state);

    if ((RELAY_ON != new_relay_state) || (RELAY_OFF != new_relay_state)) {
        return;
    }

    relay_set(new_relay_state);

}

static void sys_sensor_value_to_str(struct sensor_value *val, char *buff, int decimals){

    int fraction = val->val2;
    int scale = 1000000; // 10^6, from sensor_value definition
    int i = 0;

    if (6 < decimals){
        // 10^-6 is the smallest possible decimal point
        return;
    }

    if (0 > fraction) {
        fraction = -fraction;
    }

    for (i = 0; decimals >= i; i++) {
        scale /= 10;
    }
    fraction /= scale;

    snprintk(buff, 6, "%d.%d", val->val1, fraction);
}

static void sys_set_state(sys_state_t new_state){
    if (SYS_STATE_COUNT > new_state){
        printk("SYS chagning from %d to %d\n", sys_context.current_state, new_state);
        sys_context.current_state = new_state;
    }
}
```

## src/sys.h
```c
#ifndef _SYS_H_
#define _SYS_H_

void sys_init(uint32_t sys_call_period_ms);
void sys_main(void);

#endif /* _SYS_H_ */
```

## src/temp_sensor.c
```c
#include <zephyr/drivers/w1.h>
#include <zephyr/drivers/sensor.h>
#include <zephyr/device.h>
#include <zephyr/sys/printk.h>
#include <zephyr/sys/atomic.h>
#include "temp_sensor.h"
#include "ds18b20.h"

/* Number of maximum consecutive read errors for auxilary temperature sensor */
#define AUX_SENSOR_ERR_MAX 5

/* main sensor configuration */
#define MAIN_SENSOR_ERR_MAX 5

typedef struct temp_sensor_attr {
    enum sensor_channel channel;
    enum sensor_attribute attribute;
    struct sensor_value value;
}temp_sensor_attr_t;

typedef void (*sensor_state_handle_t)(void);

typedef enum sensor_state {
    STATE_INITIALIZING,
    STATE_RUNNING,
    STATE_ERROR,
    STATE_COUNT
}sensor_state_t;

typedef struct sensor_state_table {
    sensor_state_t name;
    sensor_state_handle_t handle;
}sensor_state_table_t;

typedef struct sensor_context {
    sensor_state_t current_state;

    /* double buffer to avoid partial read by other thread*/
    struct sensor_value current_temperature_buf[2]; 
    /* either 1 or 0 for current_temperature_buf */
    atomic_t current_temperature_id;

    int err_read_cnt;
    bool is_reading_valid;
}sensor_context_t;

typedef struct sensor {
    const temp_sensor_id_t id;
    sensor_context_t *const context;
    const sensor_state_table_t *const state_table;
    const struct device *const dev;
}sensor_t;

static bool sensor_init_attributes(const struct device *dev, temp_sensor_attr_t *attributes, int n_attr);
static void temp_sensor_set_state(sensor_context_t *context, sensor_state_t new_state);
static void execute_sensor_state(const sensor_t *sensor);

/* auxilary sensor states */
static void aux_temp_sensor_init(void);
static void aux_temp_sensor_running(void);
static void aux_temp_sensor_error(void);

/* main sensor states */
static void main_temp_sensor_init(void);
static void main_temp_sensor_running(void);
static void main_temp_sensor_error(void);

const sensor_state_table_t aux_sensor_states[] = {
    {STATE_INITIALIZING,    aux_temp_sensor_init    },
    {STATE_RUNNING,         aux_temp_sensor_running },
    {STATE_ERROR,           aux_temp_sensor_error   }
};

const sensor_state_table_t main_sensor_states[] = {
    {STATE_INITIALIZING,    main_temp_sensor_init    },
    {STATE_RUNNING,         main_temp_sensor_running },
    {STATE_ERROR,           main_temp_sensor_error   }
};

static temp_sensor_attr_t aux_temp_sensor_attr[] = {
    {SENSOR_CHAN_AMBIENT_TEMP, SENSOR_ATTR_FULL_SCALE,          {128, 0}},
    //{SENSOR_CHAN_AMBIENT_TEMP, SENSOR_ATTR_SAMPLING_FREQUENCY,  {8,   0}}
};

const struct device *const aux_temp_dev = DEVICE_DT_GET_ANY(ti_tmp112);
static sensor_context_t aux_temp_sensor_context;

/* main sensor configuration */
const struct device *const main_temp_bus = DEVICE_DT_GET(DT_NODELABEL(w1));
static sensor_context_t main_temp_sensor_context;


/* combined struct for functions that are common for all sensors */
static sensor_t sensors[] = {
    // auxilary temperature config
    {
        .id = AUX_TEMPERATURE_SENSOR,
        .dev = aux_temp_dev,
        .context = &aux_temp_sensor_context,
        .state_table = aux_sensor_states
    },
    {
        .id = MAIN_TEMPERATURE_SENSOR,
        .dev = main_temp_bus,
        .context = &main_temp_sensor_context,
        .state_table = main_sensor_states
    }
};

void temp_sensor_init(){

    int i = 0;

    /* initialize context for all sensors */
    for (i = 0; i < TEMP_SENSOR_COUNT; i++){
        *sensors[i].context = (sensor_context_t){
                .current_state = STATE_INITIALIZING,
                .current_temperature_buf[0] = (struct sensor_value){0,0},
                .current_temperature_buf[1] = (struct sensor_value){0,0},
                .current_temperature_id = ATOMIC_INIT(0),
                .err_read_cnt = 0,
                .is_reading_valid = false
            };
    }
}

void temp_sensor_main(){
    int i = 0;
    for (i = 0; i < TEMP_SENSOR_COUNT; i++){
        execute_sensor_state(&sensors[i]);
    }
}

bool temp_sensor_get_temperature(temp_sensor_id_t id, struct sensor_value *temperature){

    sensor_context_t *context = NULL;
    int buff_id = 0;
    bool reading_validity = false;

    int i = 0;
    for (i = 0; i < TEMP_SENSOR_COUNT; i++) {
        if (sensors[i].id == id){
            context = sensors[i].context;
            buff_id = atomic_get(&context->current_temperature_id);
            if (context->is_reading_valid){
                *temperature = context->current_temperature_buf[buff_id];
                reading_validity = true;
            }
        }
    }
    return reading_validity;
}

bool temp_sensor_main_is_ready(void){
    bool is_ready = false;
    /* wait for running state and first temperature sample */
    if ((STATE_RUNNING == main_temp_sensor_context.current_state) &&
        (true == main_temp_sensor_context.is_reading_valid)) {
        is_ready = true;
    }
    return is_ready;
}

bool temp_sensor_aux_is_ready(void){
    bool is_ready = false;

    /* wait for running state and first temperature sample */
    if ((STATE_RUNNING == aux_temp_sensor_context.current_state) &&
        (true == aux_temp_sensor_context.is_reading_valid)) {
        is_ready = true;
    }
    return is_ready;
}

static void execute_sensor_state(const sensor_t *sensor){

    const sensor_state_table_t *states = sensor->state_table;
    sensor_state_t current_state = sensor->context->current_state;
    int i = 0;

    for (i = 0; i < STATE_COUNT; i++){
        if (current_state == states[i].name){
            states[i].handle();
        }
    }
}

static void temp_sensor_set_state(sensor_context_t *context, sensor_state_t new_state){
    context->current_state = new_state;
}

static void aux_temp_sensor_init(){

    bool ret = false;

    if (device_is_ready(aux_temp_dev)) {
        ret = sensor_init_attributes(aux_temp_dev, aux_temp_sensor_attr,
            sizeof(aux_temp_sensor_attr)/sizeof(aux_temp_sensor_attr[0]));
    }

    if (true == ret) {
        temp_sensor_set_state(&aux_temp_sensor_context, STATE_RUNNING);
        printk("Auxilary sensor init done\n");
    }

}

static void aux_temp_sensor_running(){
    int ret = 0;
    int current_buf_id = atomic_get(&aux_temp_sensor_context.current_temperature_id);
    int next_buf_id = (current_buf_id & 0x01) ^ 0x01; // toggle ID

    struct sensor_value new_value = {0U, 0U};

    ret = sensor_sample_fetch(aux_temp_dev);
    if (0 != ret) {
        aux_temp_sensor_context.err_read_cnt++;
        printk("sensor_sample_fetch failed ret %d\n", ret);
        goto err;
    }

    ret = sensor_channel_get(aux_temp_dev, SENSOR_CHAN_AMBIENT_TEMP, &new_value);
    if (0 == ret) {
        aux_temp_sensor_context.current_temperature_buf[next_buf_id] = new_value;
        aux_temp_sensor_context.is_reading_valid = true;
        aux_temp_sensor_context.err_read_cnt = 0;
        
        /* publish the new value */
        atomic_set(&aux_temp_sensor_context.current_temperature_id, next_buf_id);
    }
    else {
        aux_temp_sensor_context.err_read_cnt++;
        printk("sensor_channel_get failed ret %d\n", ret);
        goto err;
    }

    return;

err:
    if (AUX_SENSOR_ERR_MAX < aux_temp_sensor_context.err_read_cnt) {
        aux_temp_sensor_context.is_reading_valid = false;
        temp_sensor_set_state(&aux_temp_sensor_context, STATE_ERROR);
    }
    return;
}

void aux_temp_sensor_error(){

}

static void main_temp_sensor_init(void){

    int result = 0;

    result = ds18b20_init(main_temp_bus);
    if (0 > result) {
        goto error;
    }

    result = ds18b20_set_config(main_temp_bus, 0x00, 0x00, DS18B20_RESOLUTION_12_BITS);
    if (0 > result) {
        goto error;
    }

    result = ds18b20_trigger_conversion(main_temp_bus);
    if (0 > result) {
        goto error;
    }

    temp_sensor_set_state(&main_temp_sensor_context, STATE_RUNNING);

error:
    return;
}

static void main_temp_sensor_running(void){

    int result = 0;
    int current_buf_id = atomic_get(&aux_temp_sensor_context.current_temperature_id);
    int next_buf_id = (current_buf_id & 0x01) ^ 0x01; // toggle ID

    struct sensor_value new_value = {0U, 0U};

    result = ds18b20_get_temperature(main_temp_bus, &new_value);
    if (-ENOEXEC == result) {
        /* there was not conversion trigger */
        ds18b20_trigger_conversion(main_temp_bus);
    }
    else if (-EBUSY == result) {
        /* conversion still in progress */
        return;
    }
    else if (0U > result) {
        /* other error */
        goto error;
    }

    main_temp_sensor_context.current_temperature_buf[next_buf_id] = new_value;
    main_temp_sensor_context.is_reading_valid = true;
    main_temp_sensor_context.err_read_cnt = 0;

    /* publish the new value */
    atomic_set(&main_temp_sensor_context.current_temperature_id, next_buf_id);

    /* trigger next conversion */
    result = ds18b20_trigger_conversion(main_temp_bus);
    if (0U > result) {
        goto error;
    }

    return;

error:
    /* placeholder */
    return;
}

static void main_temp_sensor_error(void){

}

static bool sensor_init_attributes(const struct device *dev, temp_sensor_attr_t *attributes, int n_attr){

    int i = 0;
    int result = 0;
    temp_sensor_attr_t *attr = {0};

    for (i = 0; i < n_attr; i++){
        attr = &attributes[i];
        result = sensor_attr_set(dev, attr->channel,
                attr->attribute, &attr->value);

        if (result != 0){
            printk("Failed to set attributes for %s, attr n: %d, errn: %d\n",
                dev->name, i, result);
            return false;
        }
    }

    return true;
}
```

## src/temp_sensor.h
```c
#ifndef __TEMP_SENSOR_H__
#define __TEMP_SENSOR_H__

#include <zephyr/drivers/sensor.h>

typedef enum temp_sensor_id {
    MAIN_TEMPERATURE_SENSOR,
    AUX_TEMPERATURE_SENSOR,
    TEMP_SENSOR_COUNT
}temp_sensor_id_t;

void temp_sensor_init(void);
void temp_sensor_main(void);
bool temp_sensor_get_temperature(temp_sensor_id_t id, struct sensor_value *temperature);

bool temp_sensor_main_is_ready(void);
bool temp_sensor_aux_is_ready(void);

#endif /* __TEMP_SENSOR_H__ */
```
